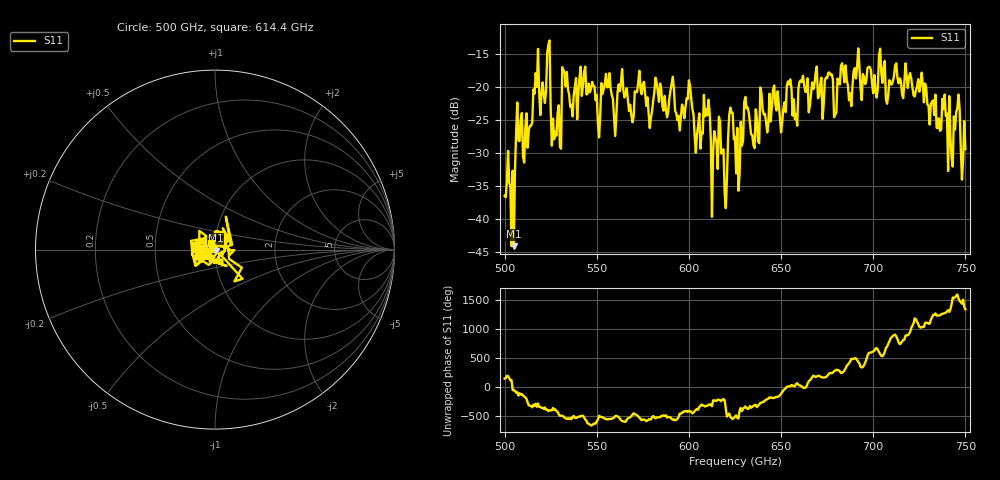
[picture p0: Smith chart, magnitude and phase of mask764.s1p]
!Created with skrf (http://scikit-rf.org).
# GHz S MA R 50.0
!freq magS11 angS11
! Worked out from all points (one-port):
!   401 points, 500 GHz to 750 GHz, reference 50 ohm
!   lowest |S11| = -44.2 dB at 505 GHz (marker M1), VSWR 1.01, Z = 50.3 - j0.514 ohm
!   |S11| at or under -10 dB: start of sweep to end of sweep
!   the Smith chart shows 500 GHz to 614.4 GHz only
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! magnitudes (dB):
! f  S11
! 500 GHz  -36.6
! 505 GHz  -44.2
! 507.5 GHz  -28.2
! 513.8 GHz  -26.0
! 516.9 GHz  -17.9
! 520.6 GHz  -19.4
! 523.8 GHz  -13.7
! 526.9 GHz  -28.0
! 531.2 GHz  -17.1
! 542.5 GHz  -19.9
! 550.6 GHz  -25.6
! 555.6 GHz  -20.1
! 559.4 GHz  -24.7
! 562.5 GHz  -20.7
! 568.8 GHz  -24.3
! 590.6 GHz  -19.5
! 593.8 GHz  -25.1
! 609.4 GHz  -23.5
! 619.4 GHz  -36.0
! 622.5 GHz  -23.2
! 625 GHz  -27.6
! 656.2 GHz  -24.4
! 687.5 GHz  -21.0
! 691.2 GHz  -17.0
! 718.8 GHz  -20.2
! 741.9 GHz  -27.7
! 745.6 GHz  -23.3
! 750 GHz  -29.5
